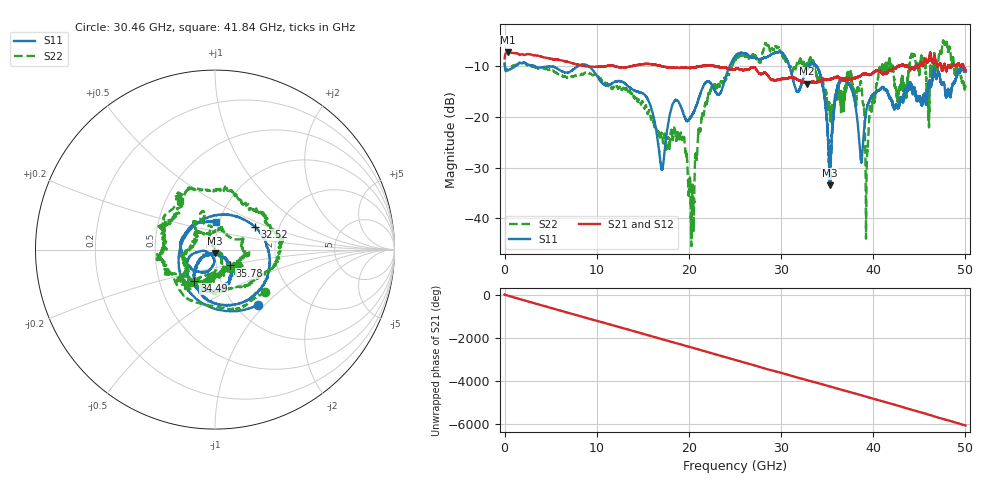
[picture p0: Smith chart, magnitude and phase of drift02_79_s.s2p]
!Created with skrf (http://scikit-rf.org).
# Hz S RI R 50.0
!freq ReS11 ImS11 ReS21 ImS21 ReS12 ImS12 ReS22 ImS22
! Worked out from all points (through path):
!   10001 points, 300 kHz to 50 GHz, reference 50 ohm
!   highest |S21| = -7.32 dB at 320.3 MHz (marker M1); lowest = -13.5 dB at 32.76 GHz (marker M2)
!   group delay of S21, straight-line fit = 335 ps
!   lowest |S11| = -33.5 dB at 35.28 GHz (marker M3), VSWR 1.04, Z = 49.9 - j2.11 ohm
!   |S11| at or under -10 dB: 3.23 GHz to 8.003 GHz (4.773 GHz wide, 85 % of centre); 9.108 GHz to 24.41 GHz (15.31 GHz wide, 91.3 % of centre); 33.85 GHz to end of sweep (the widest 3 of 9)
!   |S22| runs from -45.5 to -5.0 dB; largest |S21 - S12| = 0.015
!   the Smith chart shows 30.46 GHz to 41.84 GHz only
!   S11 on the Smith chart (normalised r, x): 30.46 GHz: 1.26, -0.91; 32.52 GHz: 1.51, +0.41; 34.49 GHz: 0.75, -0.27; 35.78 GHz: 1.17, -0.21; 41.84 GHz: 0.96, +0.31
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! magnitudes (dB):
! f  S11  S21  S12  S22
! 300 kHz  -9.5  -8.5  -8.4  -9.4
! 320.3 MHz  -10.9  -7.3  -7.3  -10.6
! 8.335 GHz  -9.7  -9.9  -9.9  -11.6
! 16.67 GHz  -25.5  -9.9  -9.9  -22.7
! 19.31 GHz  -18.9  -10.4  -10.4  -24.5
! 20.37 GHz  -19.5  -10.3  -10.3  -34.2
! 21.93 GHz  -13.1  -9.9  -9.9  -17.4
! 25 GHz  -8.1  -10.6  -10.6  -9.0
! 30.46 GHz  -8.2  -12.5  -12.4  -8.8
! 32.52 GHz  -11.8  -13.2  -13.3  -9.6
! 32.76 GHz  -10.8  -13.5  -13.5  -9.5
! 33.34 GHz  -9.5  -13.2  -13.2  -8.9
! 34.49 GHz  -13.6  -12.7  -12.8  -12.4
! 35.28 GHz  -33.5  -12.6  -12.6  -18.7
! 35.78 GHz  -18.2  -12.3  -12.3  -17.5
! 37.25 GHz  -13.2  -12.6  -12.6  -11.8
! 38.54 GHz  -25.8  -12.0  -12.0  -14.1
! 39.32 GHz  -18.1  -11.6  -11.5  -28.3
! 41.67 GHz  -15.8  -10.9  -11.0  -9.7
! 41.84 GHz  -16.2  -10.8  -10.8  -9.5
! 47.76 GHz  -14.3  -9.7  -9.7  -5.5
! 50 GHz  -11.1  -10.8  -10.8  -14.1
